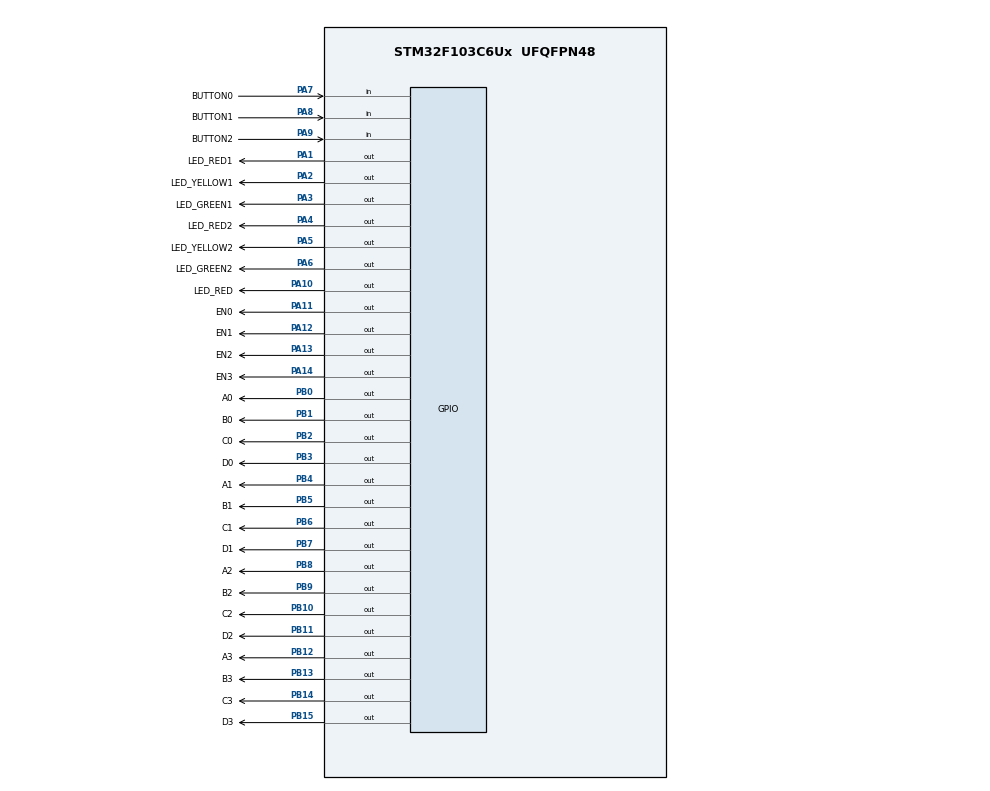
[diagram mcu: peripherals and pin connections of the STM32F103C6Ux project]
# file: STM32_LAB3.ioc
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Mcu.Family=STM32F1
Mcu.Name=STM32F103C6Ux
Mcu.Package=UFQFPN48
NVIC.PriorityGroup=NVIC_PRIORITYGROUP_4
NVIC.TIM2_IRQn=true\:0\:0\:false\:false\:true\:true\:true
PA1.GPIO_Label=LED_RED1
PA1.Signal=GPIO_Output
PA10.GPIO_Label=LED_RED
PA10.Signal=GPIO_Output
PA11.GPIO_Label=EN0
PA11.Signal=GPIO_Output
PA12.GPIO_Label=EN1
PA12.Signal=GPIO_Output
PA13.GPIO_Label=EN2
PA13.Signal=GPIO_Output
PA14.GPIO_Label=EN3
PA14.Signal=GPIO_Output
PA2.GPIO_Label=LED_YELLOW1
PA2.Signal=GPIO_Output
PA3.GPIO_Label=LED_GREEN1
PA3.Signal=GPIO_Output
PA4.GPIO_Label=LED_RED2
PA4.Signal=GPIO_Output
PA5.GPIO_Label=LED_YELLOW2
PA5.Signal=GPIO_Output
PA6.GPIO_Label=LED_GREEN2
PA6.Signal=GPIO_Output
PA7.GPIO_Label=BUTTON0
PA7.GPIO_PuPd=GPIO_PULLUP
PA7.Signal=GPIO_Input
PA8.GPIO_Label=BUTTON1
PA8.GPIO_PuPd=GPIO_PULLUP
PA8.Signal=GPIO_Input
PA9.GPIO_Label=BUTTON2
PA9.GPIO_PuPd=GPIO_PULLUP
PA9.Signal=GPIO_Input
PB0.GPIO_Label=A0
PB0.Signal=GPIO_Output
PB1.GPIO_Label=B0
PB1.Signal=GPIO_Output
PB10.GPIO_Label=C2
PB10.Signal=GPIO_Output
PB11.GPIO_Label=D2
PB11.Signal=GPIO_Output
PB12.GPIO_Label=A3
PB12.Signal=GPIO_Output
PB13.GPIO_Label=B3
PB13.Signal=GPIO_Output
PB14.GPIO_Label=C3
PB14.Signal=GPIO_Output
PB15.GPIO_Label=D3
PB15.Signal=GPIO_Output
PB2.GPIO_Label=C0
PB2.Signal=GPIO_Output
PB3.GPIO_Label=D0
PB3.Signal=GPIO_Output
PB4.GPIO_Label=A1
PB4.Signal=GPIO_Output
PB5.GPIO_Label=B1
PB5.Signal=GPIO_Output
PB6.GPIO_Label=C1
PB6.Signal=GPIO_Output
PB7.GPIO_Label=D1
PB7.Signal=GPIO_Output
PB8.GPIO_Label=A2
PB8.Signal=GPIO_Output
PB9.GPIO_Label=B2
PB9.Signal=GPIO_Output
ProjectManager.HeapSize=0x200
ProjectManager.StackSize=0x400
ProjectManager.TargetToolchain=STM32CubeIDE
RCC.APB1Freq_Value=8000000
RCC.APB2Freq_Value=8000000
TIM2.Period=9
TIM2.Prescaler=7999
VP_SYS_VS_ND.Mode=No_Debug
VP_TIM2_VS_ClockSourceINT.Mode=Internal
board=custom

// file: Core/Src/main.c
/* USER CODE BEGIN Header */
/**
  ******************************************************************************
  * @file           : main.c
  * @brief          : Main program body
  ******************************************************************************
  * @attention
  *
  * <h2><center>&copy; Copyright (c) 2024 STMicroelectronics.
  * All rights reserved.</center></h2>
  *
  * This software component is licensed by ST under BSD 3-Clause license,
  * the "License"; You may not use this file except in compliance with the
  * License. You may obtain a copy of the License at:
  *                        opensource.org/licenses/BSD-3-Clause
  *
  ******************************************************************************
  */
/* USER CODE END Header */
#include "main.h"

/* USER CODE BEGIN Includes */
#include "global.h"
/* USER CODE END Includes */

TIM_HandleTypeDef htim2;

void SystemClock_Config(void);
static void MX_GPIO_Init(void);
static void MX_TIM2_Init(void);

int main(void)
{

  /* MCU Configuration--------------------------------------------------------*/

  /* Reset of all peripherals, Initializes the Flash interface and the Systick. */
  HAL_Init();

  /* Configure the system clock */
  SystemClock_Config();

  /* Initialize all configured peripherals */
  MX_GPIO_Init();
  MX_TIM2_Init();
  /* USER CODE BEGIN 2 */
  HAL_TIM_Base_Start_IT(&htim2);
  /* USER CODE END 2 */

  /* Infinite loop */
  /* USER CODE BEGIN WHILE */
  statusLed1 = INIT;
  statusLed2 = INIT;
  statusMode = INIT_MODE;
  setTimer(10, 100);
  setTimer(timerAnimation1, 37);
  setTimer(timerAnimation2, 27);
  while (1)
  {
	  if(timer_flag[10] == 1){
		  HAL_GPIO_TogglePin(LED_RED_GPIO_Port, LED_RED_Pin);
		  setTimer(10, 100);
	  }
	  fsm_manual_run();
    /* USER CODE END WHILE */

  }
}

void SystemClock_Config(void)
{
  RCC_OscInitTypeDef RCC_OscInitStruct = {0};
  RCC_ClkInitTypeDef RCC_ClkInitStruct = {0};

  /** Initializes the RCC Oscillators according to the specified parameters
  * in the RCC_OscInitTypeDef structure.
  */
  RCC_OscInitStruct.OscillatorType = RCC_OSCILLATORTYPE_HSI;
  RCC_OscInitStruct.HSIState = RCC_HSI_ON;
  RCC_OscInitStruct.HSICalibrationValue = RCC_HSICALIBRATION_DEFAULT;
  RCC_OscInitStruct.PLL.PLLState = RCC_PLL_NONE;
  if (HAL_RCC_OscConfig(&RCC_OscInitStruct) != HAL_OK)
  {
    Error_Handler();
  }
  /** Initializes the CPU, AHB and APB buses clocks
  */
  RCC_ClkInitStruct.ClockType = RCC_CLOCKTYPE_HCLK|RCC_CLOCKTYPE_SYSCLK
                              |RCC_CLOCKTYPE_PCLK1|RCC_CLOCKTYPE_PCLK2;
  RCC_ClkInitStruct.SYSCLKSource = RCC_SYSCLKSOURCE_HSI;
  RCC_ClkInitStruct.AHBCLKDivider = RCC_SYSCLK_DIV1;
  RCC_ClkInitStruct.APB1CLKDivider = RCC_HCLK_DIV1;
  RCC_ClkInitStruct.APB2CLKDivider = RCC_HCLK_DIV1;

  if (HAL_RCC_ClockConfig(&RCC_ClkInitStruct, FLASH_LATENCY_0) != HAL_OK)
  {
    Error_Handler();
  }
}

static void MX_TIM2_Init(void)
{

  TIM_ClockConfigTypeDef sClockSourceConfig = {0};
  TIM_MasterConfigTypeDef sMasterConfig = {0};

  htim2.Instance = TIM2;
  htim2.Init.Prescaler = 7999;
  htim2.Init.CounterMode = TIM_COUNTERMODE_UP;
  htim2.Init.Period = 9;
  htim2.Init.ClockDivision = TIM_CLOCKDIVISION_DIV1;
  htim2.Init.AutoReloadPreload = TIM_AUTORELOAD_PRELOAD_DISABLE;
  if (HAL_TIM_Base_Init(&htim2) != HAL_OK)
  {
    Error_Handler();
  }
  sClockSourceConfig.ClockSource = TIM_CLOCKSOURCE_INTERNAL;
  if (HAL_TIM_ConfigClockSource(&htim2, &sClockSourceConfig) != HAL_OK)
  {
    Error_Handler();
  }
  sMasterConfig.MasterOutputTrigger = TIM_TRGO_RESET;
  sMasterConfig.MasterSlaveMode = TIM_MASTERSLAVEMODE_DISABLE;
  if (HAL_TIMEx_MasterConfigSynchronization(&htim2, &sMasterConfig) != HAL_OK)
  {
    Error_Handler();
  }

}

static void MX_GPIO_Init(void)
{
  GPIO_InitTypeDef GPIO_InitStruct = {0};

  /* GPIO Ports Clock Enable */
  __HAL_RCC_GPIOA_CLK_ENABLE();
  __HAL_RCC_GPIOB_CLK_ENABLE();

  /*Configure GPIO pin Output Level */
  HAL_GPIO_WritePin(GPIOA, LED_RED1_Pin|LED_YELLOW1_Pin|LED_GREEN1_Pin|LED_RED2_Pin
                          |LED_YELLOW2_Pin|LED_GREEN2_Pin|LED_RED_Pin|EN0_Pin
                          |EN1_Pin|EN2_Pin|EN3_Pin, GPIO_PIN_RESET);

  /*Configure GPIO pin Output Level */
  HAL_GPIO_WritePin(GPIOB, A0_Pin|B0_Pin|C0_Pin|C2_Pin
                          |D2_Pin|A3_Pin|B3_Pin|C3_Pin
                          |D3_Pin|D0_Pin|A1_Pin|B1_Pin
                          |C1_Pin|D1_Pin|A2_Pin|B2_Pin, GPIO_PIN_RESET);

  /*Configure GPIO pins : LED_RED1_Pin LED_YELLOW1_Pin LED_GREEN1_Pin LED_RED2_Pin
                           LED_YELLOW2_Pin LED_GREEN2_Pin LED_RED_Pin EN0_Pin
                           EN1_Pin EN2_Pin EN3_Pin */
  GPIO_InitStruct.Pin = LED_RED1_Pin|LED_YELLOW1_Pin|LED_GREEN1_Pin|LED_RED2_Pin
                          |LED_YELLOW2_Pin|LED_GREEN2_Pin|LED_RED_Pin|EN0_Pin
                          |EN1_Pin|EN2_Pin|EN3_Pin;
  GPIO_InitStruct.Mode = GPIO_MODE_OUTPUT_PP;
  GPIO_InitStruct.Pull = GPIO_NOPULL;
  GPIO_InitStruct.Speed = GPIO_SPEED_FREQ_LOW;
  HAL_GPIO_Init(GPIOA, &GPIO_InitStruct);

  /*Configure GPIO pins : BUTTON0_Pin BUTTON1_Pin BUTTON2_Pin */
  GPIO_InitStruct.Pin = BUTTON0_Pin|BUTTON1_Pin|BUTTON2_Pin;
  GPIO_InitStruct.Mode = GPIO_MODE_INPUT;
  GPIO_InitStruct.Pull = GPIO_PULLUP;
  HAL_GPIO_Init(GPIOA, &GPIO_InitStruct);

  /*Configure GPIO pins : A0_Pin B0_Pin C0_Pin C2_Pin
                           D2_Pin A3_Pin B3_Pin C3_Pin
                           D3_Pin D0_Pin A1_Pin B1_Pin
                           C1_Pin D1_Pin A2_Pin B2_Pin */
  GPIO_InitStruct.Pin = A0_Pin|B0_Pin|C0_Pin|C2_Pin
                          |D2_Pin|A3_Pin|B3_Pin|C3_Pin
                          |D3_Pin|D0_Pin|A1_Pin|B1_Pin
                          |C1_Pin|D1_Pin|A2_Pin|B2_Pin;
  GPIO_InitStruct.Mode = GPIO_MODE_OUTPUT_PP;
  GPIO_InitStruct.Pull = GPIO_NOPULL;
  GPIO_InitStruct.Speed = GPIO_SPEED_FREQ_LOW;
  HAL_GPIO_Init(GPIOB, &GPIO_InitStruct);

}

/* USER CODE BEGIN 4 */
void HAL_TIM_PeriodElapsedCallback(TIM_HandleTypeDef *htim){
	for(int i = 0; i < no_timer; i++){
		runTimer(i);
	}
	for(int i = 0; i< no_button; i++){
		getKeyInput(i);
	}
}
/* USER CODE END 4 */

void Error_Handler(void)
{
  __disable_irq();
  while (1)
  {
  }
}

/************************ (C) COPYRIGHT STMicroelectronics *****END OF FILE****/
